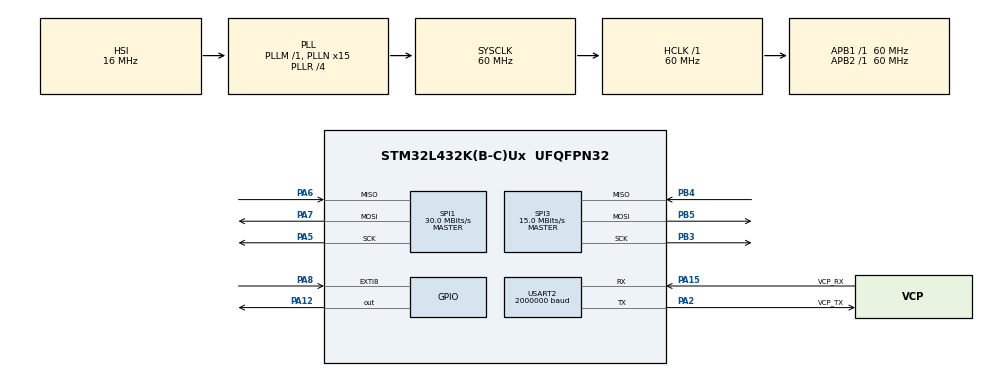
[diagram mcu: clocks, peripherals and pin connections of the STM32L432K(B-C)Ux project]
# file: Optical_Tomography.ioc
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Dma.Request0=USART2_TX
Dma.USART2_TX.0.Direction=DMA_MEMORY_TO_PERIPH
Dma.USART2_TX.0.Instance=DMA1_Channel7
Dma.USART2_TX.0.MemDataAlignment=DMA_MDATAALIGN_BYTE
Dma.USART2_TX.0.MemInc=DMA_MINC_ENABLE
Dma.USART2_TX.0.Mode=DMA_NORMAL
Dma.USART2_TX.0.PeriphDataAlignment=DMA_PDATAALIGN_BYTE
Dma.USART2_TX.0.PeriphInc=DMA_PINC_DISABLE
Dma.USART2_TX.0.Priority=DMA_PRIORITY_LOW
Mcu.Family=STM32L4
Mcu.Name=STM32L432K(B-C)Ux
Mcu.Package=UFQFPN32
NVIC.DMA1_Channel7_IRQn=true\:0\:0\:false\:false\:true\:false\:true\:true
NVIC.EXTI9_5_IRQn=true\:0\:0\:false\:false\:true\:true\:true\:true
NVIC.PriorityGroup=NVIC_PRIORITYGROUP_4
NVIC.USART2_IRQn=true\:0\:0\:false\:false\:true\:true\:true\:true
PA0.GPIO_Label=MCO [High speed clock in]
PA0.Signal=RCC_CK_IN
PA12.PinState=GPIO_PIN_SET
PA12.Signal=GPIO_Output
PA13\ (JTMS-SWDIO).GPIO_Label=SWDIO
PA13\ (JTMS-SWDIO).Signal=SYS_JTMS-SWDIO
PA14\ (JTCK-SWCLK).GPIO_Label=SWCLK
PA14\ (JTCK-SWCLK).Signal=SYS_JTCK-SWCLK
PA15\ (JTDI).GPIO_Label=VCP_RX
PA15\ (JTDI).Mode=Asynchronous
PA15\ (JTDI).Signal=USART2_RX
PA2.GPIO_Label=VCP_TX
PA2.Mode=Asynchronous
PA2.Signal=USART2_TX
PA5.Mode=Full_Duplex_Master
PA5.Signal=SPI1_SCK
PA6.Mode=Full_Duplex_Master
PA6.Signal=SPI1_MISO
PA7.Mode=Full_Duplex_Master
PA7.Signal=SPI1_MOSI
PA8.GPIO_ModeDefaultEXTI=GPIO_MODE_IT_FALLING
PA8.Signal=GPXTI8
PB3\ (JTDO-TRACESWO).Mode=Full_Duplex_Master
PB3\ (JTDO-TRACESWO).Signal=SPI3_SCK
PB4\ (NJTRST).Mode=Full_Duplex_Master
PB4\ (NJTRST).Signal=SPI3_MISO
PB5.Mode=Full_Duplex_Master
PB5.Signal=SPI3_MOSI
PC14-OSC32_IN\ (PC14).Signal=RCC_OSC32_IN
PC15-OSC32_OUT\ (PC15).Signal=RCC_OSC32_OUT
ProjectManager.HeapSize=0x200
ProjectManager.StackSize=0x400
ProjectManager.TargetToolchain=STM32CubeIDE
RCC.ADCFreq_Value=64000000
RCC.AHBFreq_Value=60000000
RCC.APB1Freq_Value=60000000
RCC.APB1TimFreq_Value=60000000
RCC.APB2Freq_Value=60000000
RCC.APB2TimFreq_Value=60000000
RCC.CortexFreq_Value=60000000
RCC.HCLKFreq_Value=60000000
RCC.HSE_VALUE=8000000
RCC.HSI16_VALUE=16000000
RCC.HSI48_VALUE=48000000
RCC.HSI_VALUE=16000000
RCC.LSE_VALUE=32768
RCC.MSI_VALUE=4000000
RCC.PLLMUL=RCC_PLLMUL_4
RCC.PLLN=15
RCC.PLLR=RCC_PLLR_DIV4
RCC.PLLSourceVirtual=RCC_PLLSOURCE_HSI
RCC.SYSCLKFreq_VALUE=60000000
RCC.SYSCLKSource=RCC_SYSCLKSOURCE_PLLCLK
RCC.USBFreq_Value=64000000
RCC.VCOOutputFreq_Value=240000000
SPI1.BaudRatePrescaler=SPI_BAUDRATEPRESCALER_2
SPI1.CalculateBaudRate=30.0 MBits/s
SPI1.DataSize=SPI_DATASIZE_8BIT
SPI1.Direction=SPI_DIRECTION_2LINES
SPI1.Mode=SPI_MODE_MASTER
SPI1.VirtualType=VM_MASTER
SPI3.BaudRatePrescaler=SPI_BAUDRATEPRESCALER_4
SPI3.CLKPhase=SPI_PHASE_2EDGE
SPI3.CLKPolarity=SPI_POLARITY_HIGH
SPI3.CalculateBaudRate=15.0 MBits/s
SPI3.DataSize=SPI_DATASIZE_8BIT
SPI3.Direction=SPI_DIRECTION_2LINES
SPI3.Mode=SPI_MODE_MASTER
SPI3.VirtualType=VM_MASTER
USART2.BaudRate=2000000
USART2.VirtualMode-Asynchronous=VM_ASYNC
board=NUCLEO-L432KC

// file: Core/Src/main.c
/* USER CODE BEGIN Header */
/**
 ******************************************************************************
 * @file           : main.c
 * @brief          : Main program body
 ******************************************************************************
 * @attention
 *
 * Copyright (c) 2025 STMicroelectronics.
 * All rights reserved.
 *
 * This software is licensed under terms that can be found in the LICENSE file
 * in the root directory of this software component.
 * If no LICENSE file comes with this software, it is provided AS-IS.
 *
 ******************************************************************************
 */
/* USER CODE END Header */
#include "main.h"

/* USER CODE BEGIN Includes */
#include "AD7175_8.h"
#include <string.h>
#include <stdlib.h>
#include <stdio.h>
/* USER CODE END Includes */

SPI_HandleTypeDef hspi1;
SPI_HandleTypeDef hspi3;

UART_HandleTypeDef huart2;
DMA_HandleTypeDef hdma_usart2_tx;

/* USER CODE BEGIN PV */
AD7175_8 *adc;
uint32_t PD_readings[NUM_PDs];
uint32_t data[NUM_PDs][NUM_LEDs];

static uint8_t led_frame[LED_FRAME_SIZE];
static volatile uint8_t led_idx = 0;

static char tx_frame[TX_FRAME_SIZE];
static uint16_t tx_len = 0;
static volatile bool tx_busy = false;

static uint8_t adc_rx[4];
static volatile uint8_t got_mask = 0;
static volatile uint8_t sample_cnt = 0;
uint8_t zeros[4] = { 0 }; /* drives DIN low */
/* USER CODE END PV */

void SystemClock_Config(void);
static void MX_GPIO_Init(void);
static void MX_DMA_Init(void);
static void MX_SPI1_Init(void);
static void MX_USART2_UART_Init(void);
static void MX_SPI3_Init(void);

/* USER CODE BEGIN 0 */

/* ---------------------------------------------------------------------------*/
/* Enable the interrupt on PB4                                                */
/* REQUIRE: PB4 already in EXTI mode.                                         */
/*----------------------------------------------------------------------------*/
static inline void rdy_exti_enable() {
	EXTI->PR1  = (1U << 4);   /* 1) clear any stale pending flag  */
	EXTI->IMR1 |= (1U << 4);  /* 2) un-mask the line              */
	NVIC_ClearPendingIRQ(EXTI4_IRQn);
	NVIC_EnableIRQ(EXTI4_IRQn);
}

/* ---------------------------------------------------------------------------*/
/* Disable the interrupt on PB4                                               */
/* REQUIRE: PB4 already in EXTI mode.                                         */
/*----------------------------------------------------------------------------*/
static inline void rdy_exti_disable() {
	EXTI->IMR1 &= ~(1U << 4); /* mask line-4; PR1 can still set   */
	NVIC_DisableIRQ(EXTI4_IRQn);
}

/*
 * Change PB4 from SPI3_MISO to EXTI
 * Falling edge triggered external interrupt
 * REQUIRE: PB4 in SPI3_MISO mode.
 */
static inline void rdy_to_exti(){
	GPIOB->MODER &= ~(0x3u << (4 * 2));   /* one AHB write   */
}

/*
 * Change PB4 from EXTI to SPI3_MISO
 * REQUIRE: PB4 in EXTI mode
 */
static inline void rdy_to_spi(){
	GPIOB->MODER = (GPIOB->MODER & ~(0x3u << (4 * 2))) | (0x2u << (4 * 2));
}

/* ========================================================================= */
/*  1.  Unsigned-32-bit → decimal ASCII                                      */
/*      – works for any 0 … 4 294 967 295                                    */
/*      – returns pointer to first digit (string is NUL-terminated)          */
/* ========================================================================= */
static inline char* u32_to_dec(uint32_t v, char *p_end) {
	char *p = p_end;
	*--p = '\0'; /* terminate                          */
	do {
		*--p = (char) ('0' + (v % 10u));
		v /= 10u;
	} while (v);
	return p;
}

/* ========================================================================= */
/*  2.  Build one CSV frame in `tx_frame` and set `tx_len`                   */
/*      Frame:  <tick_ms mod 100000>,d00,d01,…,d(P,N-1)\r\n                  */
/* ========================================================================= */
static void build_tx_frame(uint32_t tick_ms) {
	char *p = tx_frame;

	/* ---------- timestamp (5 decimal digits max) ----------------------- */
	{
		char tmp[11];
		char *s = u32_to_dec(tick_ms % 100000u, &tmp[10]);
		while (*s)
			*p++ = *s++;
		*p++ = ','; /* field separator                    */
	}

	/* ---------- sensor matrix ------------------------------------------ */
	for (uint8_t led = 0; led < NUM_LEDs; ++led) {
		for (uint8_t pd = 0; pd < NUM_PDs; ++pd) {

			/* convert 24-bit code (0…0xFFFFFF) -------------------------- */
			char tmp[12]; /* 8 digits + '\0' + spare            */
			char *s = u32_to_dec(data[pd][led] & 0xFFFFFFu, &tmp[11]);
			while (*s)
				*p++ = *s++;

			/* add comma or line terminator ------------------------------ */
			*p++ = (led == NUM_LEDs - 1 && pd == NUM_PDs - 1) ? '\r' : ',';
		}
	}
	*p++ = '\n';

	/* total length for UART/DMA transfer -------------------------------- */
	tx_len = (uint16_t) (p - tx_frame);
}

static void init_frame(void) {
	memset(led_frame, 0x00, 4);
	memset(&led_frame[4 + NUM_LEDs * 4], 0xFF, (NUM_LEDs + 15) / 16);
}

static inline void set_pixel(uint8_t idx, uint8_t br, uint8_t g, uint8_t r,
		uint8_t b) {
	uint8_t *p = &led_frame[4 + idx * 4];
	p[0] = 0xE0 | (br & 0x1F);
	p[1] = g;
	p[2] = r;
	p[3] = b;
}

/* =========================================================================
 *   EXTI-falling on PA8  (DOUT/RDY ↓)  →  start SPI3 DMA read
 * ========================================================================= */
void HAL_GPIO_EXTI_Callback(uint16_t pin) {
	if (pin != RDY_PIN)
		return;

	/* PB4 switch to SPI3_MISO */
	rdy_to_spi();
	HAL_SPI_TransmitReceive(&hspi3, zeros, adc_rx, 4, HAL_MAX_DELAY);
	sample_cnt++;

	/* Wait for NUM_PDs samples to arrive */
	if (got_mask == (1u << NUM_PDs) - 1u) {
		/* PB4 switch to EXTI, disable interrupt, wait for LED transfer */
		rdy_to_exti();
		rdy_exti_disable();
		__HAL_GPIO_EXTI_CLEAR_IT(RDY_PIN);
		return;
	}

	uint8_t ch;
	uint32_t code;
	ad7175_8_unpack(adc_rx, &ch, &code);
	if (ch < NUM_PDs) {
		PD_readings[ch] = code;
		got_mask |= (1u << ch);
	}

	/* PB4 switch to EXTI,
	 * Enable interrupt, hear next falling edge */
	EXTI->PR1  = (1U << 4);   /* 1) clear any stale pending flag  */
	rdy_to_exti();
}

/* =========================================================================
 *   UART-DMA complete → release buffer
 * ========================================================================= */
void HAL_UART_TxCpltCallback(UART_HandleTypeDef *huart) {
	if (huart == &huart2)
		tx_busy = false;
}

/* USER CODE END 0 */

int main(void)
{

  /* MCU Configuration--------------------------------------------------------*/

  /* Reset of all peripherals, Initializes the Flash interface and the Systick. */
  HAL_Init();

  /* Configure the system clock */
  SystemClock_Config();

  /* Initialize all configured peripherals */
  MX_GPIO_Init();
  MX_DMA_Init();
  MX_SPI1_Init();
  MX_USART2_UART_Init();
  MX_SPI3_Init();
  /* USER CODE BEGIN 2 */
	HAL_GPIO_WritePin(AD7175_CS_PORT, AD7175_CS_PIN, GPIO_PIN_RESET);
	/* PB4 in SPI3_MISO */
	if (AD7175_8_Init(&adc, &hspi3, GPIOA, GPIO_PIN_12) != 0)
		Error_Handler();
	ad7175_8_start_continuous(adc);
	init_frame();

	rdy_to_exti();

  /* USER CODE END 2 */

  /* Infinite loop */
	while (1) {

    /* USER CODE BEGIN 3 */
		uint32_t now = HAL_GetTick();
		for (uint8_t led = 0; led < NUM_LEDs; led++) {

			// Update LED
			uint8_t prev = (led + NUM_LEDs - 1) % NUM_LEDs;
			set_pixel(prev, 0, 0, 0, 0);
			set_pixel(led, MAX_BRIGHTNESS, 255, 255, 255);
			HAL_SPI_Transmit(&hspi1, led_frame, LED_FRAME_SIZE, HAL_MAX_DELAY);

			// Clear flag & enable EXTI
			got_mask = 0;
			sample_cnt = 0;
			rdy_exti_enable(); // Start reading from ADC
			while (got_mask != (1u << NUM_PDs) - 1u)
				__WFI(); /* sleep until done */
			rdy_exti_disable(); // Disable interrupt while building csv
			for (uint8_t pd = 0; pd < NUM_PDs; pd++) {
				data[pd][led] = PD_readings[pd];
				//printf("data[%d][%d] = %ld\r\n", pd, led, PD_readings[pd]);
			}
		}

		build_tx_frame(now);
		while (tx_busy); /* wait previous frame */
		tx_busy = true;
		HAL_UART_Transmit_DMA(&huart2, (uint8_t*) tx_frame, tx_len);
	}
  /* USER CODE END 3 */
}

void SystemClock_Config(void)
{
  RCC_OscInitTypeDef RCC_OscInitStruct = {0};
  RCC_ClkInitTypeDef RCC_ClkInitStruct = {0};

  /** Configure the main internal regulator output voltage
  */
  if (HAL_PWREx_ControlVoltageScaling(PWR_REGULATOR_VOLTAGE_SCALE1) != HAL_OK)
  {
    Error_Handler();
  }

  /** Initializes the RCC Oscillators according to the specified parameters
  * in the RCC_OscInitTypeDef structure.
  */
  RCC_OscInitStruct.OscillatorType = RCC_OSCILLATORTYPE_HSI;
  RCC_OscInitStruct.HSIState = RCC_HSI_ON;
  RCC_OscInitStruct.HSICalibrationValue = RCC_HSICALIBRATION_DEFAULT;
  RCC_OscInitStruct.PLL.PLLState = RCC_PLL_ON;
  RCC_OscInitStruct.PLL.PLLSource = RCC_PLLSOURCE_HSI;
  RCC_OscInitStruct.PLL.PLLM = 1;
  RCC_OscInitStruct.PLL.PLLN = 15;
  RCC_OscInitStruct.PLL.PLLP = RCC_PLLP_DIV7;
  RCC_OscInitStruct.PLL.PLLQ = RCC_PLLQ_DIV2;
  RCC_OscInitStruct.PLL.PLLR = RCC_PLLR_DIV4;
  if (HAL_RCC_OscConfig(&RCC_OscInitStruct) != HAL_OK)
  {
    Error_Handler();
  }

  /** Initializes the CPU, AHB and APB buses clocks
  */
  RCC_ClkInitStruct.ClockType = RCC_CLOCKTYPE_HCLK|RCC_CLOCKTYPE_SYSCLK
                              |RCC_CLOCKTYPE_PCLK1|RCC_CLOCKTYPE_PCLK2;
  RCC_ClkInitStruct.SYSCLKSource = RCC_SYSCLKSOURCE_PLLCLK;
  RCC_ClkInitStruct.AHBCLKDivider = RCC_SYSCLK_DIV1;
  RCC_ClkInitStruct.APB1CLKDivider = RCC_HCLK_DIV1;
  RCC_ClkInitStruct.APB2CLKDivider = RCC_HCLK_DIV1;

  if (HAL_RCC_ClockConfig(&RCC_ClkInitStruct, FLASH_LATENCY_3) != HAL_OK)
  {
    Error_Handler();
  }
}

static void MX_SPI1_Init(void)
{

  /* SPI1 parameter configuration*/
  hspi1.Instance = SPI1;
  hspi1.Init.Mode = SPI_MODE_MASTER;
  hspi1.Init.Direction = SPI_DIRECTION_2LINES;
  hspi1.Init.DataSize = SPI_DATASIZE_8BIT;
  hspi1.Init.CLKPolarity = SPI_POLARITY_LOW;
  hspi1.Init.CLKPhase = SPI_PHASE_1EDGE;
  hspi1.Init.NSS = SPI_NSS_SOFT;
  hspi1.Init.BaudRatePrescaler = SPI_BAUDRATEPRESCALER_2;
  hspi1.Init.FirstBit = SPI_FIRSTBIT_MSB;
  hspi1.Init.TIMode = SPI_TIMODE_DISABLE;
  hspi1.Init.CRCCalculation = SPI_CRCCALCULATION_DISABLE;
  hspi1.Init.CRCPolynomial = 7;
  hspi1.Init.CRCLength = SPI_CRC_LENGTH_DATASIZE;
  hspi1.Init.NSSPMode = SPI_NSS_PULSE_ENABLE;
  if (HAL_SPI_Init(&hspi1) != HAL_OK)
  {
    Error_Handler();
  }

}

static void MX_SPI3_Init(void)
{

  /* SPI3 parameter configuration*/
  hspi3.Instance = SPI3;
  hspi3.Init.Mode = SPI_MODE_MASTER;
  hspi3.Init.Direction = SPI_DIRECTION_2LINES;
  hspi3.Init.DataSize = SPI_DATASIZE_8BIT;
  hspi3.Init.CLKPolarity = SPI_POLARITY_HIGH;
  hspi3.Init.CLKPhase = SPI_PHASE_2EDGE;
  hspi3.Init.NSS = SPI_NSS_SOFT;
  hspi3.Init.BaudRatePrescaler = SPI_BAUDRATEPRESCALER_4;
  hspi3.Init.FirstBit = SPI_FIRSTBIT_MSB;
  hspi3.Init.TIMode = SPI_TIMODE_DISABLE;
  hspi3.Init.CRCCalculation = SPI_CRCCALCULATION_DISABLE;
  hspi3.Init.CRCPolynomial = 7;
  hspi3.Init.CRCLength = SPI_CRC_LENGTH_DATASIZE;
  hspi3.Init.NSSPMode = SPI_NSS_PULSE_DISABLE;
  if (HAL_SPI_Init(&hspi3) != HAL_OK)
  {
    Error_Handler();
  }

}

static void MX_USART2_UART_Init(void)
{

  huart2.Instance = USART2;
  huart2.Init.BaudRate = 2000000;
  huart2.Init.WordLength = UART_WORDLENGTH_8B;
  huart2.Init.StopBits = UART_STOPBITS_1;
  huart2.Init.Parity = UART_PARITY_NONE;
  huart2.Init.Mode = UART_MODE_TX_RX;
  huart2.Init.HwFlowCtl = UART_HWCONTROL_NONE;
  huart2.Init.OverSampling = UART_OVERSAMPLING_16;
  huart2.Init.OneBitSampling = UART_ONE_BIT_SAMPLE_DISABLE;
  huart2.AdvancedInit.AdvFeatureInit = UART_ADVFEATURE_NO_INIT;
  if (HAL_UART_Init(&huart2) != HAL_OK)
  {
    Error_Handler();
  }

}

static void MX_DMA_Init(void)
{

  /* DMA controller clock enable */
  __HAL_RCC_DMA1_CLK_ENABLE();

  /* DMA interrupt init */
  /* DMA1_Channel7_IRQn interrupt configuration */
  HAL_NVIC_SetPriority(DMA1_Channel7_IRQn, 0, 0);
  HAL_NVIC_EnableIRQ(DMA1_Channel7_IRQn);

}

static void MX_GPIO_Init(void)
{
  GPIO_InitTypeDef GPIO_InitStruct = {0};

  /* GPIO Ports Clock Enable */
  __HAL_RCC_GPIOC_CLK_ENABLE();
  __HAL_RCC_GPIOA_CLK_ENABLE();
  __HAL_RCC_GPIOB_CLK_ENABLE();

  /*Configure GPIO pin Output Level */
  HAL_GPIO_WritePin(GPIOA, GPIO_PIN_12, GPIO_PIN_SET);

  /*Configure GPIO pin : PA8 */
  GPIO_InitStruct.Pin = GPIO_PIN_8;
  GPIO_InitStruct.Mode = GPIO_MODE_IT_FALLING;
  GPIO_InitStruct.Pull = GPIO_NOPULL;
  HAL_GPIO_Init(GPIOA, &GPIO_InitStruct);

  /*Configure GPIO pin : PA12 */
  GPIO_InitStruct.Pin = GPIO_PIN_12;
  GPIO_InitStruct.Mode = GPIO_MODE_OUTPUT_PP;
  GPIO_InitStruct.Pull = GPIO_NOPULL;
  GPIO_InitStruct.Speed = GPIO_SPEED_FREQ_LOW;
  HAL_GPIO_Init(GPIOA, &GPIO_InitStruct);

  /* EXTI interrupt init*/

  /* USER CODE BEGIN MX_GPIO_Init_2 */
  /* Set PB4 as an external interrupt triggered on falling edge */
  RCC->AHB2ENR |= RCC_AHB2ENR_GPIOBEN;						/* Set AHB clock to enable bank B */
  RCC->APB2ENR |= RCC_APB2ENR_SYSCFGEN;						/* Enable SYSCFG clock */

  SYSCFG->EXTICR[1] &= ~SYSCFG_EXTICR2_EXTI4_Msk;
  SYSCFG->EXTICR[1] |= (0x1u << SYSCFG_EXTICR2_EXTI4_Pos);	/* Map PB4 to external interrupt 4 */

  EXTI->RTSR1 &= ~EXTI_RTSR1_RT4;
  EXTI->FTSR1 |= EXTI_FTSR1_FT4;
  EXTI->PR1 = EXTI_PR1_PIF4;
  EXTI->IMR1 |= EXTI_IMR1_IM4;

  HAL_NVIC_SetPriority(EXTI4_IRQn, 0, 0);
  /* USER CODE END MX_GPIO_Init_2 */
}

/* USER CODE BEGIN 4 */
#ifdef __GNUC__
#define PUTCHAR_PROTOTYPE int __io_putchar(int ch)
#else
#define PUTCHAR_PROTOTYPE int fputc(int ch, FILE *f)
#endif /* __GNUC__ */
PUTCHAR_PROTOTYPE {
	HAL_UART_Transmit(&huart2, (uint8_t*) &ch, 1, 0xFFFF);
	return ch;
}

/* USER CODE END 4 */

void Error_Handler(void)
{
	__disable_irq();
	while (1) {
	}
}
